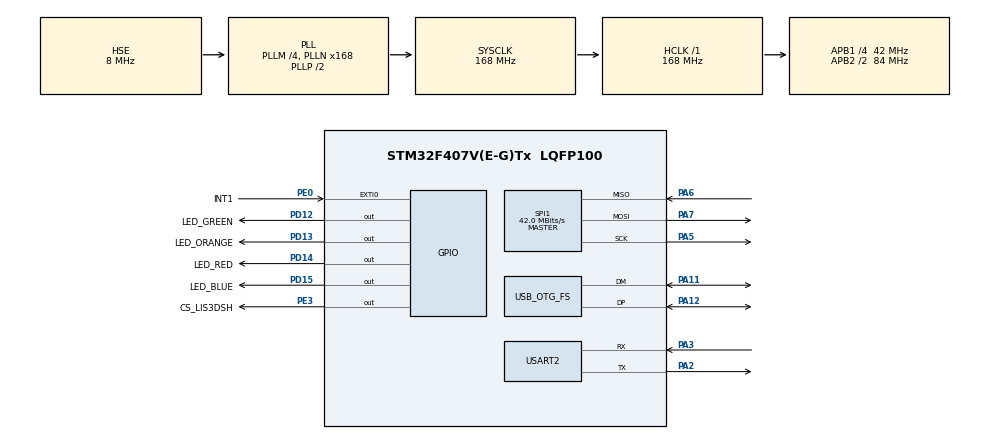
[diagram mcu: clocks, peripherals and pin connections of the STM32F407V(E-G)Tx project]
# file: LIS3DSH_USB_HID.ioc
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Dma.Request0=SPI1_RX
Dma.Request1=SPI1_TX
Dma.SPI1_RX.0.Direction=DMA_PERIPH_TO_MEMORY
Dma.SPI1_RX.0.FIFOMode=DMA_FIFOMODE_DISABLE
Dma.SPI1_RX.0.Instance=DMA2_Stream0
Dma.SPI1_RX.0.MemDataAlignment=DMA_MDATAALIGN_BYTE
Dma.SPI1_RX.0.MemInc=DMA_MINC_ENABLE
Dma.SPI1_RX.0.Mode=DMA_NORMAL
Dma.SPI1_RX.0.PeriphDataAlignment=DMA_PDATAALIGN_BYTE
Dma.SPI1_RX.0.PeriphInc=DMA_PINC_DISABLE
Dma.SPI1_RX.0.Priority=DMA_PRIORITY_LOW
Dma.SPI1_TX.1.Direction=DMA_MEMORY_TO_PERIPH
Dma.SPI1_TX.1.FIFOMode=DMA_FIFOMODE_DISABLE
Dma.SPI1_TX.1.Instance=DMA2_Stream3
Dma.SPI1_TX.1.MemDataAlignment=DMA_MDATAALIGN_BYTE
Dma.SPI1_TX.1.MemInc=DMA_MINC_ENABLE
Dma.SPI1_TX.1.Mode=DMA_NORMAL
Dma.SPI1_TX.1.PeriphDataAlignment=DMA_PDATAALIGN_BYTE
Dma.SPI1_TX.1.PeriphInc=DMA_PINC_DISABLE
Dma.SPI1_TX.1.Priority=DMA_PRIORITY_LOW
FREERTOS.BinarySemaphores01=AccelSem,Dynamic,NULL
FREERTOS.Mutexes01=Mutex1,Dynamic,NULL
FREERTOS.Queues01=QUEUE_DATA,2,QUEUE_DATA,0,Dynamic,NULL,NULL;QUEUE_UART,2,QUEUE_UART,0,Dynamic,NULL,NULL
FREERTOS.Tasks01=defaultTask,24,128,StartDefaultTask,Default,NULL,Dynamic,NULL,NULL;Read_XYZ,8,256,StartRead_XYZ,Default,NULL,Static,Read_XYZBuffer,Read_XYZControlBlock;Angle_Task,8,256,StartAngle_Task,Default,NULL,Static,Angle_TaskBuffer,Angle_TaskControlBlock;Task_test,8,512,StartTask_test,Default,NULL,Static,Task_testBuffer,Task_testControlBlock
FREERTOS.configGENERATE_RUN_TIME_STATS=1
FREERTOS.configRECORD_STACK_HIGH_ADDRESS=1
FREERTOS.configTICK_RATE_HZ=1000
FREERTOS.configUSE_PREEMPTION=1
FREERTOS.configUSE_STATS_FORMATTING_FUNCTIONS=1
Mcu.Family=STM32F4
Mcu.Name=STM32F407V(E-G)Tx
Mcu.Package=LQFP100
NVIC.DMA2_Stream0_IRQn=true\:5\:0\:false\:false\:true\:true\:false\:true\:true
NVIC.DMA2_Stream3_IRQn=true\:5\:0\:false\:false\:true\:true\:false\:true\:true
NVIC.EXTI0_IRQn=true\:5\:0\:false\:false\:true\:true\:true\:true\:true
NVIC.OTG_FS_IRQn=true\:5\:0\:false\:false\:true\:true\:false\:true\:true
NVIC.PriorityGroup=NVIC_PRIORITYGROUP_4
NVIC.TIM6_DAC_IRQn=true\:15\:0\:false\:false\:true\:false\:false\:true\:true
NVIC.TIM7_IRQn=true\:5\:0\:false\:false\:true\:true\:true\:true\:true
NVIC.TimeBase=TIM6_DAC_IRQn
NVIC.TimeBaseIP=TIM6
PA11.Mode=Device_Only
PA11.Signal=USB_OTG_FS_DM
PA12.Mode=Device_Only
PA12.Signal=USB_OTG_FS_DP
PA13.Mode=Serial_Wire
PA13.Signal=SYS_JTMS-SWDIO
PA14.Mode=Serial_Wire
PA14.Signal=SYS_JTCK-SWCLK
PA2.Mode=Asynchronous
PA2.Signal=USART2_TX
PA3.Mode=Asynchronous
PA3.Signal=USART2_RX
PA5.Mode=Full_Duplex_Master
PA5.Signal=SPI1_SCK
PA6.Mode=Full_Duplex_Master
PA6.Signal=SPI1_MISO
PA7.Mode=Full_Duplex_Master
PA7.Signal=SPI1_MOSI
PD12.GPIO_Label=LED_GREEN
PD12.Signal=GPIO_Output
PD13.GPIO_Label=LED_ORANGE
PD13.Signal=GPIO_Output
PD14.GPIO_Label=LED_RED
PD14.Signal=GPIO_Output
PD15.GPIO_Label=LED_BLUE
PD15.Signal=GPIO_Output
PE0.GPIO_Label=INT1
PE0.Signal=GPXTI0
PE3.GPIO_Label=CS_LIS3DSH
PE3.Signal=GPIO_Output
PH0-OSC_IN.Mode=HSE-External-Oscillator
PH0-OSC_IN.Signal=RCC_OSC_IN
PH1-OSC_OUT.Mode=HSE-External-Oscillator
PH1-OSC_OUT.Signal=RCC_OSC_OUT
ProjectManager.HeapSize=0x2000
ProjectManager.StackSize=0x4000
ProjectManager.TargetToolchain=STM32CubeIDE
RCC.48MHZClocksFreq_Value=48000000
RCC.AHBFreq_Value=168000000
RCC.APB1CLKDivider=RCC_HCLK_DIV4
RCC.APB1Freq_Value=42000000
RCC.APB1TimFreq_Value=84000000
RCC.APB2CLKDivider=RCC_HCLK_DIV2
RCC.APB2Freq_Value=84000000
RCC.APB2TimFreq_Value=168000000
RCC.CortexFreq_Value=168000000
RCC.HCLKFreq_Value=168000000
RCC.HSE_VALUE=8000000
RCC.HSI_VALUE=16000000
RCC.LSE_VALUE=32768
RCC.PLLM=4
RCC.PLLN=168
RCC.PLLQ=7
RCC.SYSCLKFreq_VALUE=168000000
RCC.SYSCLKSource=RCC_SYSCLKSOURCE_PLLCLK
RCC.VCOOutputFreq_Value=336000000
SPI1.BaudRatePrescaler=SPI_BAUDRATEPRESCALER_2
SPI1.CalculateBaudRate=42.0 MBits/s
SPI1.Direction=SPI_DIRECTION_2LINES
SPI1.Mode=SPI_MODE_MASTER
SPI1.VirtualType=VM_MASTER
TIM7.Period=99
TIM7.Prescaler=15
USART2.VirtualMode=VM_ASYNC
USB_DEVICE.CLASS_NAME_FS=CUSTOM_HID
USB_DEVICE.VirtualMode-CUSTOM_HID_FS=CustomHid
USB_DEVICE.VirtualModeFS=Custom_Hid_FS
USB_OTG_FS.VirtualMode=Device_Only
VP_FREERTOS_VS_CMSIS_V2.Mode=CMSIS_V2
VP_SYS_VS_tim6.Mode=TIM6
VP_TIM7_VS_ClockSourceINT.Mode=Enable_Timer
VP_USB_DEVICE_VS_USB_DEVICE_CUSTOM_HID_FS.Mode=CUSTOM_HID_FS
board=custom

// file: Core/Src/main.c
/* USER CODE BEGIN Header */
/**
  ******************************************************************************
  * @file           : main.c
  * @brief          : Main program body
  ******************************************************************************
  * @attention
  *
  * Copyright (c) 2022 STMicroelectronics.
  * All rights reserved.
  *
  * This software is licensed under terms that can be found in the LICENSE file
  * in the root directory of this software component.
  * If no LICENSE file comes with this software, it is provided AS-IS.
  *
  ******************************************************************************
  */
/* USER CODE END Header */
#include "main.h"
#include "cmsis_os.h"
#include "usb_device.h"

/* USER CODE BEGIN Includes */
#include "stdio.h"
#include "string.h"
#include "math.h"
#include "usbd_custom_hid_if.h"
//#include "usbd_cdc_if.h"

/* USER CODE END Includes */

typedef StaticTask_t osStaticThreadDef_t;
/* USER CODE BEGIN PTD */
/*
typedef struct{
	uint16_t X_16bit,Y_16bit,Z_16bit;
}QUEUE_DATA;
*/

typedef struct{
	//int16_t X_16bit,Y_16bit,Z_16bit;
}QUEUE_DATA;

typedef struct{
	int16_t X_16bit;
	int16_t Y_16bit;
	int16_t Z_16bit;

	double angle_ax;
	double angle_ay;
	double angle_az;
	double gx;
	double gy;
	double gz;
}LIS3DSH;

typedef struct{
	//double angle_ax, angle_ay, angle_az;
//	double ax;
//	double ay;
//	double az;
}QUEUE_UART;
/* USER CODE END PTD */

/* USER CODE BEGIN PD */

#define XH_REG 0x29
#define XL_REG 0x28

#define YH_REG 0x2B
#define YL_REG 0x2A

#define ZH_REG 0x2D
#define ZL_REG 0x2C

#define OUT_T_REG 0x0C

#define STATUS_REG 0x27

///testttttt
#define SENS 16834
//#define TO_DEG 57.2958

/* USER CODE END PD */

SPI_HandleTypeDef hspi1;
DMA_HandleTypeDef hdma_spi1_rx;
DMA_HandleTypeDef hdma_spi1_tx;

TIM_HandleTypeDef htim7;

UART_HandleTypeDef huart2;

/* Definitions for defaultTask */
osThreadId_t defaultTaskHandle;
const osThreadAttr_t defaultTask_attributes = {
  .name = "defaultTask",
  .stack_size = 128 * 4,
  .priority = (osPriority_t) osPriorityNormal,
};
/* Definitions for Read_XYZ */
osThreadId_t Read_XYZHandle;
uint32_t Read_XYZBuffer[ 256 ];
osStaticThreadDef_t Read_XYZControlBlock;
const osThreadAttr_t Read_XYZ_attributes = {
  .name = "Read_XYZ",
  .cb_mem = &Read_XYZControlBlock,
  .cb_size = sizeof(Read_XYZControlBlock),
  .stack_mem = &Read_XYZBuffer[0],
  .stack_size = sizeof(Read_XYZBuffer),
  .priority = (osPriority_t) osPriorityLow,
};
/* Definitions for Angle_Task */
osThreadId_t Angle_TaskHandle;
uint32_t Angle_TaskBuffer[ 256 ];
osStaticThreadDef_t Angle_TaskControlBlock;
const osThreadAttr_t Angle_Task_attributes = {
  .name = "Angle_Task",
  .cb_mem = &Angle_TaskControlBlock,
  .cb_size = sizeof(Angle_TaskControlBlock),
  .stack_mem = &Angle_TaskBuffer[0],
  .stack_size = sizeof(Angle_TaskBuffer),
  .priority = (osPriority_t) osPriorityLow,
};
/* Definitions for Task_test */
osThreadId_t Task_testHandle;
uint32_t Task_testBuffer[ 512 ];
osStaticThreadDef_t Task_testControlBlock;
const osThreadAttr_t Task_test_attributes = {
  .name = "Task_test",
  .cb_mem = &Task_testControlBlock,
  .cb_size = sizeof(Task_testControlBlock),
  .stack_mem = &Task_testBuffer[0],
  .stack_size = sizeof(Task_testBuffer),
  .priority = (osPriority_t) osPriorityLow,
};
/* Definitions for QUEUE_DATA */
osMessageQueueId_t QUEUE_DATAHandle;
const osMessageQueueAttr_t QUEUE_DATA_attributes = {
  .name = "QUEUE_DATA"
};
/* Definitions for QUEUE_UART */
osMessageQueueId_t QUEUE_UARTHandle;
const osMessageQueueAttr_t QUEUE_UART_attributes = {
  .name = "QUEUE_UART"
};
/* Definitions for Mutex1 */
osMutexId_t Mutex1Handle;
const osMutexAttr_t Mutex1_attributes = {
  .name = "Mutex1"
};
/* Definitions for AccelSem */
osSemaphoreId_t AccelSemHandle;
const osSemaphoreAttr_t AccelSem_attributes = {
  .name = "AccelSem"
};
/* USER CODE BEGIN PV */
char test[30];

_Bool LED_flag=RESET;

LIS3DSH accel;

/*
int16_t X_16bit,Y_16bit,Z_16bit;

double angle_ax, angle_ay, angle_az;
double ax;
double ay;
double az;
*/

/* USER CODE END PV */

void SystemClock_Config(void);
static void MX_GPIO_Init(void);
static void MX_DMA_Init(void);
static void MX_SPI1_Init(void);
static void MX_USART2_UART_Init(void);
static void MX_TIM7_Init(void);
void StartDefaultTask(void *argument);
void StartRead_XYZ(void *argument);
void StartAngle_Task(void *argument);
void StartTask_test(void *argument);

/* USER CODE BEGIN PFP */
void Acc_Inin(void);
double Filter_Kalman(double val);
void LED_Proc(double angle_ax, double angle_ay);

/* USER CODE END PFP */

/* USER CODE BEGIN 0 */
void Acc_Inin(void){

	uint8_t Reg_ctrl_4=0x20;
	uint8_t acc_set=0x57;
	uint8_t Reg_ctrl_5=0x24;
	uint8_t acc_reg=0x00;

	uint8_t Reg_ctrl_3=0x23;
	uint8_t acc_int=0x88;

	HAL_GPIO_WritePin(GPIOE, GPIO_PIN_3, GPIO_PIN_RESET);
	HAL_SPI_Transmit_DMA(&hspi1, &Reg_ctrl_4, 1);
	HAL_SPI_Transmit_DMA(&hspi1, &acc_set, 1);
	HAL_GPIO_WritePin(GPIOE, GPIO_PIN_3, GPIO_PIN_SET);

    HAL_GPIO_WritePin(GPIOE, GPIO_PIN_3, GPIO_PIN_RESET);
    HAL_SPI_Transmit_DMA(&hspi1, &Reg_ctrl_5, 1);
    HAL_SPI_Transmit_DMA(&hspi1, &acc_reg, 1);
    HAL_GPIO_WritePin(GPIOE, GPIO_PIN_3, GPIO_PIN_SET);

    HAL_GPIO_WritePin(GPIOE, GPIO_PIN_3, GPIO_PIN_RESET);
    HAL_SPI_Transmit_DMA(&hspi1, &Reg_ctrl_3, 1);
    HAL_SPI_Transmit_DMA(&hspi1, &acc_int, 1);
    HAL_GPIO_WritePin(GPIOE, GPIO_PIN_3, GPIO_PIN_SET);

	/*	HAL_GPIO_WritePin(GPIOE, GPIO_PIN_3, GPIO_PIN_RESET);
		Reg_ctrl_5=0x80|Reg_ctrl_5;
		HAL_SPI_Transmit(&hspi1, &Reg_ctrl_5, 1, 100);
		HAL_SPI_Receive(&hspi1, &test_acc, 1, 100);
		HAL_GPIO_WritePin(GPIOE, GPIO_PIN_3, GPIO_PIN_SET);

		*/
/*
HAL_GPIO_WritePin(GPIOE, GPIO_PIN_3, GPIO_PIN_RESET);
HAL_SPI_Transmit_DMA(&hspi1, &Reg_ctrl_3, 1);
HAL_SPI_Transmit_DMA(&hspi1, &acc_int2, 1);
//HAL_SPI_Transmit(&hspi1, &Reg_ctrl_5, 1, 100);
//HAL_SPI_Transmit(&hspi1, &acc_reg, 1, 100);
HAL_GPIO_WritePin(GPIOE, GPIO_PIN_3, GPIO_PIN_SET);
*/

}

double Filter_Kalman(double val) { //функция фильтрации

	float varVolt = 0.3; // среднее отклонение (расчет в программе)
	float varProcess = 0.2; // скорость реакции на изменение (подбирается вручную)
	float Pc = 0.0;
	float G = 0.0;
	float P = 1.0;
	float Xp = 0.0;
	float Zp = 0.0;
	float Xe = 0.0;
/*

Pc = P + varProcess;
G = Pc/(Pc + varVolt);
P = (1-G)*Pc;
Xp = Xe;
Zp = Xp;
Xe = G*(val-Zp)+Xp; // "фильтрованное" значение

return(Xe);
*/
	return(val);
}

void LED_Proc(double angle_ax,double angle_ay){

	if(angle_ax>=10){

		HAL_GPIO_WritePin(LED_GREEN_GPIO_Port, LED_GREEN_Pin,GPIO_PIN_RESET);
		HAL_GPIO_WritePin(LED_RED_GPIO_Port, LED_RED_Pin,GPIO_PIN_SET);
	}
	if (angle_ax<=-10){
		HAL_GPIO_WritePin(LED_GREEN_GPIO_Port, LED_GREEN_Pin,GPIO_PIN_SET);
		HAL_GPIO_WritePin(LED_RED_GPIO_Port, LED_RED_Pin,GPIO_PIN_RESET);
	}

	if ((angle_ax>-10) && (angle_ax<10))
	{
		HAL_GPIO_WritePin(LED_GREEN_GPIO_Port, LED_GREEN_Pin,GPIO_PIN_RESET);
		HAL_GPIO_WritePin(LED_RED_GPIO_Port, LED_RED_Pin,GPIO_PIN_RESET);

	}

	if(angle_ay>=10){
		HAL_GPIO_WritePin(LED_BLUE_GPIO_Port, LED_BLUE_Pin,GPIO_PIN_RESET);
		HAL_GPIO_WritePin(LED_ORANGE_GPIO_Port, LED_ORANGE_Pin,GPIO_PIN_SET);
	}
	if (angle_ay<=-10){

		HAL_GPIO_WritePin(LED_BLUE_GPIO_Port, LED_BLUE_Pin,GPIO_PIN_SET);
		HAL_GPIO_WritePin(LED_ORANGE_GPIO_Port, LED_ORANGE_Pin,GPIO_PIN_RESET);
	}

	if ((angle_ay>-10) && (angle_ay<10))
			{

		HAL_GPIO_WritePin(LED_BLUE_GPIO_Port, LED_BLUE_Pin,GPIO_PIN_RESET);
		HAL_GPIO_WritePin(LED_ORANGE_GPIO_Port, LED_ORANGE_Pin,GPIO_PIN_RESET);

	}

}

//uint8_t USB_TX_Buffer[65];
uint8_t USB_RX_Buffer[65];

//uint8_t dataUART[65];
int USB_packet_enable=0;
extern USBD_HandleTypeDef hUsbDeviceFS;   //указатель на дескриптор

/* USER CODE END 0 */

int main(void)
{

  /* MCU Configuration--------------------------------------------------------*/

  /* Reset of all peripherals, Initializes the Flash interface and the Systick. */
  HAL_Init();

  /* Configure the system clock */
  SystemClock_Config();

  /* Initialize all configured peripherals */
  MX_GPIO_Init();
  MX_DMA_Init();
  MX_SPI1_Init();
  MX_USART2_UART_Init();
  MX_TIM7_Init();
  /* USER CODE BEGIN 2 */
  Acc_Inin();
  sprintf(test, "test of Accselerometr\r\n");
 // CDC_Transmit_FS((uint8_t*)&test, strlen(test));
 // HAL_UART_Transmit(&huart2, (uint8_t*)&test, strlen(test), 100);
  //=============================================================================
  //Fill TX buffer
/*

  USB_TX_Buffer[0]=0x01;  //ID report (=0x01 for input)
  USB_TX_Buffer[1]=0x48;  //'H'
  USB_TX_Buffer[2]=0x65;  //'e'
  USB_TX_Buffer[3]=0x6c;  //'l'
  USB_TX_Buffer[4]=0x6c;  //'l'
  USB_TX_Buffer[5]=0x6f;  //'o'
  USB_TX_Buffer[6]=0x21;  //'!'
  USB_TX_Buffer[7]=0x00;  // null-terminate string

*/
  //=============================================================================
  /* USER CODE END 2 */

  /* Init scheduler */
  osKernelInitialize();
  /* Create the mutex(es) */
  /* creation of Mutex1 */
  Mutex1Handle = osMutexNew(&Mutex1_attributes);

  /* Create the semaphores(s) */
  /* creation of AccelSem */
  AccelSemHandle = osSemaphoreNew(1, 1, &AccelSem_attributes);

  /* Create the queue(s) */
  /* creation of QUEUE_DATA */
  QUEUE_DATAHandle = osMessageQueueNew (2, sizeof(QUEUE_DATA), &QUEUE_DATA_attributes);

  /* creation of QUEUE_UART */
  QUEUE_UARTHandle = osMessageQueueNew (2, sizeof(QUEUE_UART), &QUEUE_UART_attributes);

  /* Create the thread(s) */
  /* creation of defaultTask */
  defaultTaskHandle = osThreadNew(StartDefaultTask, NULL, &defaultTask_attributes);

  /* creation of Read_XYZ */
  Read_XYZHandle = osThreadNew(StartRead_XYZ, NULL, &Read_XYZ_attributes);

  /* creation of Angle_Task */
  Angle_TaskHandle = osThreadNew(StartAngle_Task, NULL, &Angle_Task_attributes);

  /* creation of Task_test */
  Task_testHandle = osThreadNew(StartTask_test, NULL, &Task_test_attributes);

  /* Start scheduler */
  osKernelStart();

  /* We should never get here as control is now taken by the scheduler */
  /* Infinite loop */
  while (1)
  {

  }
}

void SystemClock_Config(void)
{
  RCC_OscInitTypeDef RCC_OscInitStruct = {0};
  RCC_ClkInitTypeDef RCC_ClkInitStruct = {0};

  /** Configure the main internal regulator output voltage
  */
  __HAL_RCC_PWR_CLK_ENABLE();
  __HAL_PWR_VOLTAGESCALING_CONFIG(PWR_REGULATOR_VOLTAGE_SCALE1);

  /** Initializes the RCC Oscillators according to the specified parameters
  * in the RCC_OscInitTypeDef structure.
  */
  RCC_OscInitStruct.OscillatorType = RCC_OSCILLATORTYPE_HSE;
  RCC_OscInitStruct.HSEState = RCC_HSE_ON;
  RCC_OscInitStruct.PLL.PLLState = RCC_PLL_ON;
  RCC_OscInitStruct.PLL.PLLSource = RCC_PLLSOURCE_HSE;
  RCC_OscInitStruct.PLL.PLLM = 4;
  RCC_OscInitStruct.PLL.PLLN = 168;
  RCC_OscInitStruct.PLL.PLLP = RCC_PLLP_DIV2;
  RCC_OscInitStruct.PLL.PLLQ = 7;
  if (HAL_RCC_OscConfig(&RCC_OscInitStruct) != HAL_OK)
  {
    Error_Handler();
  }

  /** Initializes the CPU, AHB and APB buses clocks
  */
  RCC_ClkInitStruct.ClockType = RCC_CLOCKTYPE_HCLK|RCC_CLOCKTYPE_SYSCLK
                              |RCC_CLOCKTYPE_PCLK1|RCC_CLOCKTYPE_PCLK2;
  RCC_ClkInitStruct.SYSCLKSource = RCC_SYSCLKSOURCE_PLLCLK;
  RCC_ClkInitStruct.AHBCLKDivider = RCC_SYSCLK_DIV1;
  RCC_ClkInitStruct.APB1CLKDivider = RCC_HCLK_DIV4;
  RCC_ClkInitStruct.APB2CLKDivider = RCC_HCLK_DIV2;

  if (HAL_RCC_ClockConfig(&RCC_ClkInitStruct, FLASH_LATENCY_5) != HAL_OK)
  {
    Error_Handler();
  }
}

static void MX_SPI1_Init(void)
{

  /* SPI1 parameter configuration*/
  hspi1.Instance = SPI1;
  hspi1.Init.Mode = SPI_MODE_MASTER;
  hspi1.Init.Direction = SPI_DIRECTION_2LINES;
  hspi1.Init.DataSize = SPI_DATASIZE_8BIT;
  hspi1.Init.CLKPolarity = SPI_POLARITY_LOW;
  hspi1.Init.CLKPhase = SPI_PHASE_1EDGE;
  hspi1.Init.NSS = SPI_NSS_SOFT;
  hspi1.Init.BaudRatePrescaler = SPI_BAUDRATEPRESCALER_2;
  hspi1.Init.FirstBit = SPI_FIRSTBIT_MSB;
  hspi1.Init.TIMode = SPI_TIMODE_DISABLE;
  hspi1.Init.CRCCalculation = SPI_CRCCALCULATION_DISABLE;
  hspi1.Init.CRCPolynomial = 10;
  if (HAL_SPI_Init(&hspi1) != HAL_OK)
  {
    Error_Handler();
  }

}

static void MX_TIM7_Init(void)
{

  TIM_MasterConfigTypeDef sMasterConfig = {0};

  htim7.Instance = TIM7;
  htim7.Init.Prescaler = 15;
  htim7.Init.CounterMode = TIM_COUNTERMODE_UP;
  htim7.Init.Period = 99;
  htim7.Init.AutoReloadPreload = TIM_AUTORELOAD_PRELOAD_DISABLE;
  if (HAL_TIM_Base_Init(&htim7) != HAL_OK)
  {
    Error_Handler();
  }
  sMasterConfig.MasterOutputTrigger = TIM_TRGO_RESET;
  sMasterConfig.MasterSlaveMode = TIM_MASTERSLAVEMODE_DISABLE;
  if (HAL_TIMEx_MasterConfigSynchronization(&htim7, &sMasterConfig) != HAL_OK)
  {
    Error_Handler();
  }

}

static void MX_USART2_UART_Init(void)
{

  huart2.Instance = USART2;
  huart2.Init.BaudRate = 115200;
  huart2.Init.WordLength = UART_WORDLENGTH_8B;
  huart2.Init.StopBits = UART_STOPBITS_1;
  huart2.Init.Parity = UART_PARITY_NONE;
  huart2.Init.Mode = UART_MODE_TX_RX;
  huart2.Init.HwFlowCtl = UART_HWCONTROL_NONE;
  huart2.Init.OverSampling = UART_OVERSAMPLING_16;
  if (HAL_UART_Init(&huart2) != HAL_OK)
  {
    Error_Handler();
  }

}

static void MX_DMA_Init(void)
{

  /* DMA controller clock enable */
  __HAL_RCC_DMA2_CLK_ENABLE();

  /* DMA interrupt init */
  /* DMA2_Stream0_IRQn interrupt configuration */
  HAL_NVIC_SetPriority(DMA2_Stream0_IRQn, 5, 0);
  HAL_NVIC_EnableIRQ(DMA2_Stream0_IRQn);
  /* DMA2_Stream3_IRQn interrupt configuration */
  HAL_NVIC_SetPriority(DMA2_Stream3_IRQn, 5, 0);
  HAL_NVIC_EnableIRQ(DMA2_Stream3_IRQn);

}

static void MX_GPIO_Init(void)
{
  GPIO_InitTypeDef GPIO_InitStruct = {0};

  /* GPIO Ports Clock Enable */
  __HAL_RCC_GPIOE_CLK_ENABLE();
  __HAL_RCC_GPIOH_CLK_ENABLE();
  __HAL_RCC_GPIOA_CLK_ENABLE();
  __HAL_RCC_GPIOD_CLK_ENABLE();

  /*Configure GPIO pin Output Level */
  HAL_GPIO_WritePin(CS_LIS3DSH_GPIO_Port, CS_LIS3DSH_Pin, GPIO_PIN_RESET);

  /*Configure GPIO pin Output Level */
  HAL_GPIO_WritePin(GPIOD, LED_GREEN_Pin|LED_ORANGE_Pin|LED_RED_Pin|LED_BLUE_Pin, GPIO_PIN_RESET);

  /*Configure GPIO pin : CS_LIS3DSH_Pin */
  GPIO_InitStruct.Pin = CS_LIS3DSH_Pin;
  GPIO_InitStruct.Mode = GPIO_MODE_OUTPUT_PP;
  GPIO_InitStruct.Pull = GPIO_NOPULL;
  GPIO_InitStruct.Speed = GPIO_SPEED_FREQ_LOW;
  HAL_GPIO_Init(CS_LIS3DSH_GPIO_Port, &GPIO_InitStruct);

  /*Configure GPIO pins : LED_GREEN_Pin LED_ORANGE_Pin LED_RED_Pin LED_BLUE_Pin */
  GPIO_InitStruct.Pin = LED_GREEN_Pin|LED_ORANGE_Pin|LED_RED_Pin|LED_BLUE_Pin;
  GPIO_InitStruct.Mode = GPIO_MODE_OUTPUT_PP;
  GPIO_InitStruct.Pull = GPIO_NOPULL;
  GPIO_InitStruct.Speed = GPIO_SPEED_FREQ_LOW;
  HAL_GPIO_Init(GPIOD, &GPIO_InitStruct);

  /*Configure GPIO pin : INT1_Pin */
  GPIO_InitStruct.Pin = INT1_Pin;
  GPIO_InitStruct.Mode = GPIO_MODE_IT_RISING;
  GPIO_InitStruct.Pull = GPIO_NOPULL;
  HAL_GPIO_Init(INT1_GPIO_Port, &GPIO_InitStruct);

  /* EXTI interrupt init*/
  HAL_NVIC_SetPriority(EXTI0_IRQn, 5, 0);
  HAL_NVIC_EnableIRQ(EXTI0_IRQn);

}

void StartDefaultTask(void *argument)
{
  /* init code for USB_DEVICE */
  MX_USB_DEVICE_Init();
  for(;;)
  {
    osDelay(1);
  }
}

void StartRead_XYZ(void *argument)
{
  /* USER CODE BEGIN StartRead_XYZ */
	//QUEUE_DATA XYZ;

	uint8_t X_read_L=XL_REG;
	uint8_t OUT_X_H;
	uint8_t OUT_X_L;

	uint8_t Y_read_L=YL_REG;
	uint8_t OUT_Y_H;
	uint8_t OUT_Y_L;

	uint8_t Z_read_L=ZL_REG;
	uint8_t OUT_Z_H;
	uint8_t OUT_Z_L;

	uint8_t Tmp_read=OUT_T_REG;
	int8_t Temp;

	uint8_t StatusReg = STATUS_REG;
	uint8_t StatusRegData;

  /* Infinite loop */
  for(;;)
  {

	 // xSemaphoreTake(AccelSemHandle, portMAX_DELAY);
	//  osSemaphoreAcquire(AccelSemHandle, 50);
//	  osSemaphoreRelease(AccelSemHandle);
	  osMutexAcquire(Mutex1Handle, osWaitForever);

	 // taskENTER_CRITICAL();
	//		  {

	  StatusRegData=0x00;
	  while(StatusRegData!=0x08){

	    HAL_GPIO_WritePin(CS_LIS3DSH_GPIO_Port,CS_LIS3DSH_Pin , GPIO_PIN_RESET);
	    StatusReg|=0x80;
		HAL_SPI_Transmit_DMA(&hspi1, &StatusReg, 1);//(&hspi1, &X_read_L, 1, 100);
		HAL_SPI_Receive_DMA(&hspi1, &StatusRegData, 1);//(&hspi1, &OUT_X_L, 1, 100);
		HAL_GPIO_WritePin(CS_LIS3DSH_GPIO_Port,CS_LIS3DSH_Pin, GPIO_PIN_SET);

		StatusRegData&=0x08;
	  }

	    HAL_GPIO_WritePin(CS_LIS3DSH_GPIO_Port,CS_LIS3DSH_Pin , GPIO_PIN_RESET);
		X_read_L=0x80|X_read_L;
		HAL_SPI_Transmit_DMA(&hspi1, &X_read_L, 1);//(&hspi1, &X_read_L, 1, 100);
		HAL_SPI_Receive_DMA(&hspi1, &OUT_X_L, 1);//(&hspi1, &OUT_X_L, 1, 100);
	//	HAL_SPI_TransmitReceive_DMA(&hspi1, &X_read_L, &OUT_X_L, 1);
		//HAL_GPIO_WritePin(CS_LIS3DSH_GPIO_Port,CS_LIS3DSH_Pin, GPIO_PIN_SET);
		//HAL_GPIO_WritePin(CS_LIS3DSH_GPIO_Port,CS_LIS3DSH_Pin, GPIO_PIN_RESET);
		//X_read_H=0x80|X_read_H;
		//HAL_SPI_Transmit_DMA(&hspi1, &X_read_H, 1);//(&hspi1, &X_read_H, 1, 100);
		HAL_SPI_Receive_DMA(&hspi1, &OUT_X_H, 1);//(&hspi1, &OUT_X_H, 1, 100);
	//	HAL_SPI_TransmitReceive_DMA(&hspi1, &X_read_H, &OUT_X_H, 1);
		HAL_GPIO_WritePin(CS_LIS3DSH_GPIO_Port,CS_LIS3DSH_Pin, GPIO_PIN_SET);
	//	XYZ.X_16bit=((OUT_X_H<<8)|(OUT_X_L));

		accel.X_16bit=((OUT_X_H<<8)|(OUT_X_L));

		HAL_GPIO_WritePin(CS_LIS3DSH_GPIO_Port,CS_LIS3DSH_Pin, GPIO_PIN_RESET);
		Y_read_L=0x80|Y_read_L;
		HAL_SPI_Transmit_DMA(&hspi1, &Y_read_L, 1); //(&hspi1, &Y_read_L, 1, 100);
		HAL_SPI_Receive_DMA(&hspi1, &OUT_Y_L, 1); //(&hspi1, &OUT_Y_L, 1, 100);
	//	HAL_SPI_TransmitReceive_DMA(&hspi1, &Y_read_L, &OUT_Y_L, 1);
		//HAL_GPIO_WritePin(CS_LIS3DSH_GPIO_Port,CS_LIS3DSH_Pin, GPIO_PIN_SET);
		//HAL_GPIO_WritePin(CS_LIS3DSH_GPIO_Port,CS_LIS3DSH_Pin, GPIO_PIN_RESET);
		//Y_read_H=0x80|Y_read_H;
		//HAL_SPI_Transmit_DMA(&hspi1, &Y_read_H, 1); //(&hspi1, &Y_read_H, 1, 100);
		HAL_SPI_Receive_DMA(&hspi1, &OUT_Y_H, 1); //(&hspi1, &OUT_Y_H, 1, 100);
	//	HAL_SPI_TransmitReceive_DMA(&hspi1, &Y_read_H, &OUT_Y_H, 1);
		HAL_GPIO_WritePin(CS_LIS3DSH_GPIO_Port,CS_LIS3DSH_Pin, GPIO_PIN_SET);
	//	XYZ.Y_16bit=((OUT_Y_H<<8)|(OUT_Y_L));

		accel.Y_16bit=((OUT_Y_H<<8)|(OUT_Y_L));

		HAL_GPIO_WritePin(CS_LIS3DSH_GPIO_Port,CS_LIS3DSH_Pin, GPIO_PIN_RESET);
		Z_read_L=0x80|Z_read_L;
		HAL_SPI_Transmit_DMA(&hspi1, &Z_read_L, 1); //(&hspi1, &Z_read_L, 1, 100);
		HAL_SPI_Receive_DMA(&hspi1, &OUT_Z_L, 1); //(&hspi1, &OUT_Z_L, 1, 100);
	//	HAL_SPI_TransmitReceive_DMA(&hspi1, &Z_read_L, &OUT_Z_L, 1);
		//HAL_GPIO_WritePin(CS_LIS3DSH_GPIO_Port,CS_LIS3DSH_Pin, GPIO_PIN_SET);
		//HAL_GPIO_WritePin(CS_LIS3DSH_GPIO_Port,CS_LIS3DSH_Pin, GPIO_PIN_RESET);
		//Z_read_H=0x80|Z_read_H;
		//HAL_SPI_Transmit_DMA(&hspi1, &Z_read_H, 1); //(&hspi1, &Z_read_H, 1, 100);
		HAL_SPI_Receive_DMA(&hspi1, &OUT_Z_H, 1); //(&hspi1, &OUT_Z_H, 1, 100);
	//	HAL_SPI_TransmitReceive_DMA(&hspi1, &Z_read_H, &OUT_Z_H, 1);
		HAL_GPIO_WritePin(CS_LIS3DSH_GPIO_Port,CS_LIS3DSH_Pin, GPIO_PIN_SET);
	//	XYZ.Z_16bit=((OUT_Z_H<<8)|(OUT_Z_L));

		accel.Z_16bit=((OUT_Z_H<<8)|(OUT_Z_L));

		//HAL_GPIO_WritePin(CS_LIS3DSH_GPIO_Port,CS_LIS3DSH_Pin, GPIO_PIN_RESET);
		//Tmp_read|=0x80;
		//HAL_SPI_Transmit_DMA(&hspi1, &Tmp_read, 1); //(&hspi1, &Z_read_L, 1, 100);
		//HAL_SPI_Receive_DMA(&hspi1, (uint8_t*)&Temp, 1); //(&hspi1, &OUT_Z_L, 1, 100);
		//HAL_GPIO_WritePin(CS_LIS3DSH_GPIO_Port,CS_LIS3DSH_Pin, GPIO_PIN_SET);

		//XYZ.Z_16bit=Temp;

	  //}

	//  taskEXIT_CRITICAL();

	//	osMessageQueuePut(QUEUE_DATAHandle, &XYZ, 0, 1);

		  osMutexRelease(Mutex1Handle);

    osDelay(10);
  }
  /* USER CODE END StartRead_XYZ */
}

void StartAngle_Task(void *argument)
{
  /* USER CODE BEGIN StartAngle_Task */
//	QUEUE_DATA XYZ;
//	QUEUE_UART Angle;

	double X_1;
	double Y_1;
	double Z_1;

	double sens=SENS;
	double TO_DEG=57.2958;

  /* Infinite loop */
  for(;;)
  {
	  	  osMutexAcquire(Mutex1Handle, osWaitForever);

///прием данных из очереди

		//  osMessageQueueGet(QUEUE_DATAHandle, &XYZ, 0, 1);

		  ///расчет коэффициентов для углов

		  accel.gx=(double)accel.X_16bit/sens;
		  accel.gy=(double)accel.Y_16bit/sens;
		  accel.gz=(double)accel.Z_16bit/sens;

		  ///фильтр Калмана
		  /*

// переменные для калмана
float varVolt = 0; // среднее отклонение (расчет в программе)
float varProcess = 2; // скорость реакции на изменение (подбирается вручную)
float Pc = 0.0;
float G = 0.0;
float P = 1.0;
float Xp = 0.0;
float Zp = 0.0;
float Xe = 0.0;

float filter(float val) { //функция фильтрации
Pc = P + varProcess;
G = Pc/(Pc + varVolt);
P = (1-G)*Pc;
Xp = Xe;
Zp = Xp;
Xe = G*(val-Zp)+Xp; // "фильтрованное" значение
return(Xe);
}

*/

	/*

		  Angle.angle_ax=filter(XYZ.X_16bit)

	*/

		  ///расчет угла через арктангенс с умножением на константу для перевода из радианы в градусы

		  X_1=TO_DEG*atan(accel.gx/(sqrt(pow(accel.gy,2)+pow(accel.gz,2))));
		  Y_1=TO_DEG*atan(accel.gy/(sqrt(pow(accel.gx,2)+pow(accel.gz,2))));
		 Z_1=TO_DEG*atan(accel.gz/(sqrt(pow(accel.gx,2)+pow(accel.gy,2))));

		  accel.angle_ax=Filter_Kalman(X_1);
		  accel.angle_ay=Filter_Kalman(Y_1);
		  accel.angle_az=Filter_Kalman(Z_1);

		  ///отправка в очередь

//	  osMessageQueuePut(QUEUE_UARTHandle, &Angle, 0, 1);

		  osMutexRelease(Mutex1Handle);

    osDelay(10);
  }
  /* USER CODE END StartAngle_Task */
}

void StartTask_test(void *argument)
{
  /* USER CODE BEGIN StartTask_test */
//	QUEUE_DATA XYZ;
//	QUEUE_UART Angle;

	char dataUART[64];

	uint8_t USB_TX_Buffer[65];

	char rep=0x01;

  /* Infinite loop */
  for(;;)
  {
	  osMutexAcquire(Mutex1Handle, osWaitForever);

	//  osMessageQueueGet(QUEUE_DATAHandle, &XYZ, 0, 1);

//	  osMessageQueueGet(QUEUE_UARTHandle, &Angle, 0, 1);

	  if(LED_flag==SET){
	  LED_Proc(accel.angle_ax,accel.angle_ay);
	  }
	  else{
		  HAL_GPIO_WritePin(LED_BLUE_GPIO_Port, LED_BLUE_Pin,GPIO_PIN_RESET);
		  HAL_GPIO_WritePin(LED_GREEN_GPIO_Port, LED_GREEN_Pin,GPIO_PIN_RESET);
		  HAL_GPIO_WritePin(LED_ORANGE_GPIO_Port, LED_ORANGE_Pin,GPIO_PIN_RESET);
		  HAL_GPIO_WritePin(LED_RED_GPIO_Port, LED_RED_Pin,GPIO_PIN_RESET);
	  }
	  ///вывод значений

//	 sprintf(dataUART,"X=%d Y=%d Z=%d\r\n", XYZ.X_16bit, XYZ.Y_16bit, XYZ.Z_16bit);
//	  HAL_UART_Transmit(&huart2, (uint8_t*)&dataUART, strlen(dataUART), osWaitForever);
//
	  ///вывод тяжести g

//	  snprintf(dataUART,sizeof(dataUART),"G_X=%.2f G_Y=%.2f G_Z=%.2f\r\n", Angle.ax, Angle.ay, Angle.az);
	//  HAL_UART_Transmit(&huart2, (uint8_t*)&dataUART, strlen(dataUART), osWaitForever);

	  ///вывод углов

	  snprintf((char*)&USB_TX_Buffer,sizeof(USB_TX_Buffer),"%c %.2f \t %.2f \t %.2f\r\n",rep, accel.angle_ax, accel.angle_ay, accel.angle_az);

	  USB_TX_Buffer[0]=0x01;  //ID report (=0x01 for input)

	//  memcpy(USB_TX_Buffer[1],dataUART,sizeof(dataUART));
//	  snprintf((char*)&USB_TX_Buffer,sizeof(USB_TX_Buffer),"%.2f %.2f %.2f\r\n", accel.angle_ax, accel.angle_ay, accel.angle_az);
	//  snprintf(dataUART,sizeof(dataUART),"%.2f %.2f %.2f\r\n", Angle.angle_ax, Angle.angle_ay, Angle.angle_az);
	//  snprintf(dataUART,sizeof(dataUART),"1X_ax=%.2f 2Y_ay=%.2f 3Z_az=%.2f\r\n", Angle.angle_ax, Angle.angle_ay, Angle.angle_az);
	//  CDC_Transmit_FS((uint8_t*)&dataUART, strlen(dataUART));

		 USBD_CUSTOM_HID_SendReport(&hUsbDeviceFS,USB_TX_Buffer,sizeof(USB_TX_Buffer));
	//  HAL_UART_Transmit(&huart2, (uint8_t*)&dataUART, strlen(dataUART), osWaitForever);

	  osMutexRelease(Mutex1Handle);

    osDelay(10);
  }
  /* USER CODE END StartTask_test */
}

void HAL_TIM_PeriodElapsedCallback(TIM_HandleTypeDef *htim)
{
  if (htim->Instance == TIM6) {
    HAL_IncTick();
  }
}

void Error_Handler(void)
{
  __disable_irq();
  while (1)
  {
  }
}

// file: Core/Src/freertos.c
/* USER CODE BEGIN Header */
/**
  ******************************************************************************
  * File Name          : freertos.c
  * Description        : Code for freertos applications
  ******************************************************************************
  * @attention
  *
  * Copyright (c) 2022 STMicroelectronics.
  * All rights reserved.
  *
  * This software is licensed under terms that can be found in the LICENSE file
  * in the root directory of this software component.
  * If no LICENSE file comes with this software, it is provided AS-IS.
  *
  ******************************************************************************
  */
/* USER CODE END Header */

#include "FreeRTOS.h"
#include "task.h"
#include "main.h"

/* USER CODE BEGIN Variables */
volatile unsigned long ulStatsTimerTicks;
extern TIM_HandleTypeDef htim7;
/* USER CODE END Variables */

/* Hook prototypes */
void configureTimerForRunTimeStats(void);
unsigned long getRunTimeCounterValue(void);

/* USER CODE BEGIN 1 */
/* Functions needed when configGENERATE_RUN_TIME_STATS is on */
__weak void configureTimerForRunTimeStats(void)
{
	ulStatsTimerTicks=0;
	HAL_TIM_Base_Start_IT(&htim7);
}

__weak unsigned long getRunTimeCounterValue(void)
{
	return ulStatsTimerTicks;
}
/* USER CODE END 1 */
